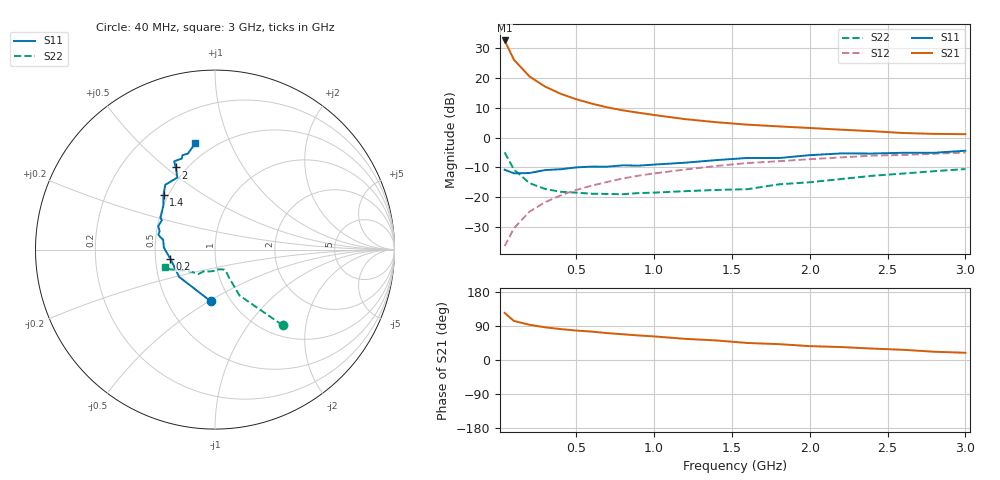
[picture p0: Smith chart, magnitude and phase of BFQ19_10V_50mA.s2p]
! Filename:  BFQ19G.S2P  Version:  2.0
! Philips part #: BFQ19  Date: Jul 1990
! Bias condition: Vce=10V, Ic=50mA
#  MHz  S  MA  R  50
! Freq  S11  S21  S12  S22  !GUM [dB]
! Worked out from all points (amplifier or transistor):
!   21 points, 40 MHz to 3 GHz, reference 50 ohm
!   highest |S21| = 32.6 dB at 40 MHz (marker M1)
!   |S21| within 3 dB of that: start of sweep to 67.7 MHz
!   unconditionally stable (mu >= 1): 170.1 MHz to 1.221 GHz
!   at 300 MHz: K = 1.03, MAG = 18.3 dB, |S12| = -21.7 dB
!   at 1 GHz: K = 1.01, MAG = 9.2 dB, |S12| = -12.0 dB
!   at 3 GHz: K = 0.87, MSG = 3.1 dB, |S12| = -5.0 dB
!   S11 on the Smith chart (normalised r, x): 40 MHz: 0.81, -0.51; 200 MHz: 0.60, -0.06; 1.4 GHz: 0.47, +0.35; 2 GHz: 0.44, +0.54; 3 GHz: 0.40, +0.75
40  0.289 -94.7  42.85 124.3  0.015 70.0  0.566 -48.2
100  0.251 -142.7  20.28 103.1  0.03 72.9  0.29 -61.9
200  0.254 -168.6  10.64 93.0  0.057 75.3  0.172 -63.4
300  0.285 177.9  7.194 86.2  0.082 76.6  0.137 -63.2
400  0.294 169.3  5.452 81.6  0.107 76.0  0.123 -64.8
500  0.316 166.7  4.407 77.7  0.132 75.0  0.119 -68.9
600  0.326 165.2  3.724 74.9  0.156 74.1  0.114 -73.6
700  0.325 161.7  3.219 70.9  0.18 72.8  0.113 -77.6
800  0.342 157.5  2.869 67.9  0.206 71.3  0.112 -83.2
900  0.338 151.2  2.618 64.8  0.229 69.5  0.117 -88.1
1000  0.352 149.6  2.397 62.3  0.25 68.0  0.119 -93.1
1200  0.379 139.3  2.044 55.8  0.291 64.9  0.126 -104.6
1400  0.419 133.2  1.813 51.6  0.334 63.1  0.132 -115.9
1600  0.455 127.5  1.65 44.9  0.374 58.0  0.136 -117.4
1800  0.453 117.6  1.543 41.9  0.401 56.7  0.164 -124.0
2000  0.507 115.5  1.45 36.6  0.434 54.3  0.178 -135.4
2200  0.542 114.8  1.359 34.2  0.465 52.7  0.201 -144.5
2400  0.54 110.0  1.282 30.2  0.497 49.8  0.228 -149.5
2600  0.556 109.1  1.195 26.9  0.511 47.3  0.249 -153.2
2800  0.556 105.7  1.154 21.8  0.535 46.1  0.273 -156.2
3000  0.602 100.6  1.142 19.1  0.563 43.4  0.296 -161.3
